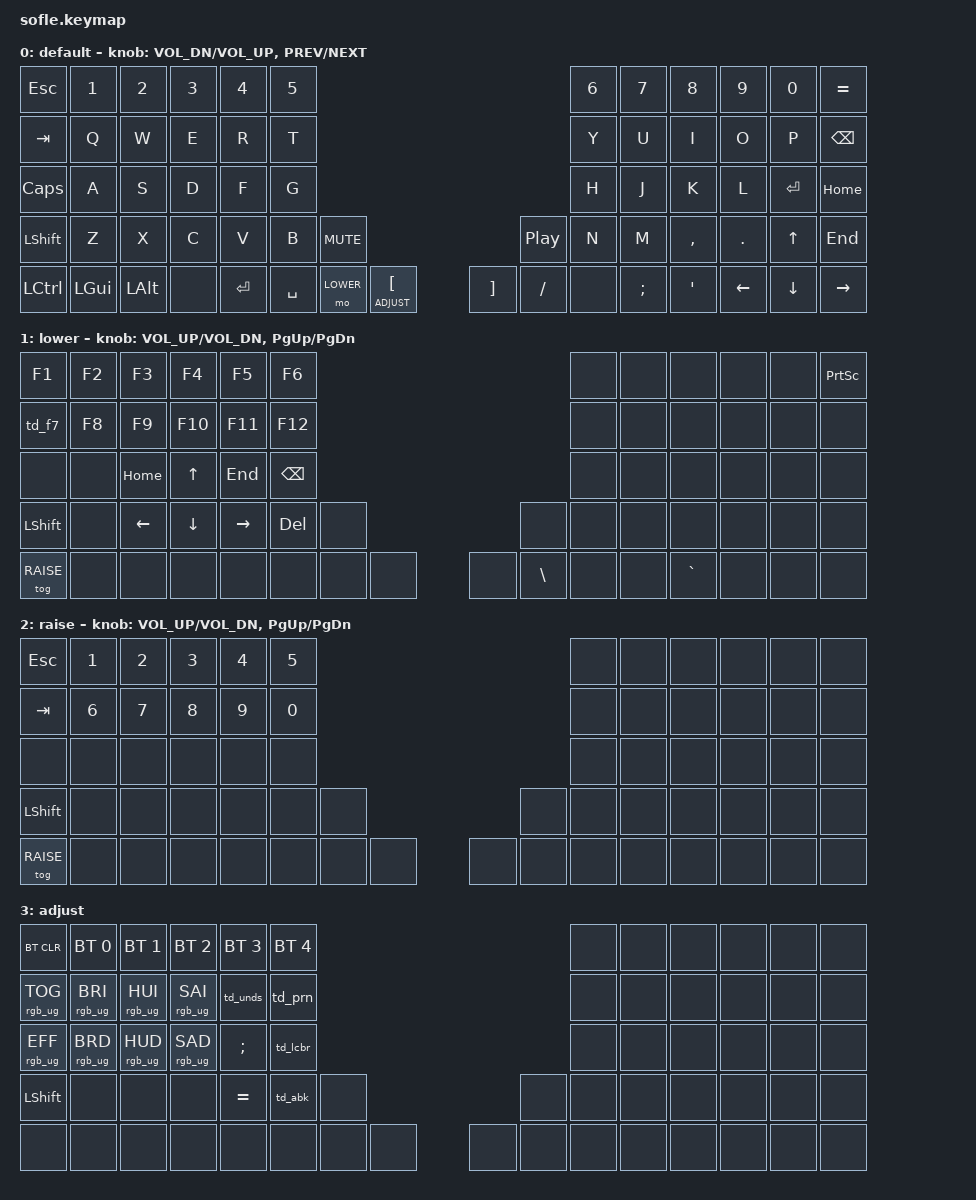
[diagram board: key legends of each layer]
/*
 * Copyright (c) 2020 The ZMK Contributors
 *
 * SPDX-License-Identifier: MIT
 */

#include <behaviors.dtsi>
#include <dt-bindings/zmk/keys.h>
#include <dt-bindings/zmk/bt.h>
#include <dt-bindings/zmk/rgb.h>
#include <dt-bindings/zmk/ext_power.h>

#include <dt-bindings/zmk/matrix_transform.h>


#define BASE 0
#define LOWER 1
#define RAISE 2
#define ADJUST 3

&led_strip {
    chain-length = <54>;
};

&josefadamcik_sofle_layout {
    transform = <&default_transform0>;
};

/ {

    chosen {
        zmk,kscan = &kscan1;
    };

    default_transform0: keymap_transform_0 {
        compatible = "zmk,matrix-transform";
        columns = <16>;
        rows = <6>;

// | SW6  | SW5  | SW4  | SW3  | SW2  | SW1  |                 | SW1  | SW2  | SW3  | SW4  | SW5  | SW6  |
// | SW12 | SW11 | SW10 | SW9  | SW8  | SW7  |                 | SW7  | SW8  | SW9  | SW10 | SW11 | SW12 |
// | SW18 | SW17 | SW16 | SW15 | SW14 | SW13 |                 | SW13 | SW14 | SW15 | SW16 | SW17 | SW18 |
// | SW24 | SW23 | SW22 | SW21 | SW20 | SW19 | SW25 |   | SW25 | SW19 | SW20 | SW21 | SW22 | SW23 | SW24 |
//               | SW30 | SW29 | SW28 | SW27 | SW26 |   | SW26 | SW27 | SW28 | SW29 | SW30 |
        map = <
RC(0,0) RC(0,1) RC(0,2) RC(0,3) RC(0,4) RC(0,5)                                     RC(0,6) RC(0,7) RC(0,8)  RC(0,9) RC(0,10) RC(0,11)
RC(1,0) RC(1,1) RC(1,2) RC(1,3) RC(1,4) RC(1,5)                                     RC(1,6) RC(1,7) RC(1,8)  RC(1,9) RC(1,10) RC(1,11)
RC(2,0) RC(2,1) RC(2,2) RC(2,3) RC(2,4) RC(2,5)                                     RC(2,6) RC(2,7) RC(2,8)  RC(2,9) RC(2,10) RC(2,11)
RC(3,0) RC(3,1) RC(3,2) RC(3,3) RC(3,4) RC(3,5) RC(4,5)                     RC(4,6) RC(3,6) RC(3,7) RC(3,8)  RC(3,9) RC(3,10) RC(3,11)
RC(4,0) RC(4,1) RC(4,2) RC(4,3) RC(4,4) RC(5,3) RC(5,4) RC(5,5)    RC(5,6)  RC(5,7) RC(5,8) RC(4,7) RC(4,8) RC(4,9) RC(4,10) RC(4,11)
        >;
    };

    kscan1: kscan {
        compatible = "zmk,kscan-gpio-matrix";
        wakeup-source;

        diode-direction = "col2row";
        row-gpios
            = <&pro_micro 4 (GPIO_ACTIVE_HIGH | GPIO_PULL_DOWN)>
            , <&pro_micro 5 (GPIO_ACTIVE_HIGH | GPIO_PULL_DOWN)>
            , <&pro_micro 6 (GPIO_ACTIVE_HIGH | GPIO_PULL_DOWN)>
            , <&pro_micro 7 (GPIO_ACTIVE_HIGH | GPIO_PULL_DOWN)>
            , <&pro_micro 8 (GPIO_ACTIVE_HIGH | GPIO_PULL_DOWN)>
            , <&pro_micro 9 (GPIO_ACTIVE_HIGH | GPIO_PULL_DOWN)>
            ;
    };



    behaviors {
        td_f7: tap_dance_0 {
            compatible = "zmk,behavior-tap-dance";
            #binding-cells = <0>;
            tapping-term-ms = <200>;
            bindings = <&kp F7>, <&kp LA(F7)>;
        };
        td_unds: tap_dance_1 {
            compatible = "zmk,behavior-tap-dance";
            #binding-cells = <0>;
            tapping-term-ms = <200>;
            bindings = <&kp UNDER>, <&kp MINUS>;
        };
        td_prn: tap_dance_2 {
            compatible = "zmk,behavior-tap-dance";
            #binding-cells = <0>;
            tapping-term-ms = <200>;
            bindings = <&kp LPAR>, <&kp RPAR>;
        };
        td_lcbr: tap_dance_3 {
            compatible = "zmk,behavior-tap-dance";
            #binding-cells = <0>;
            tapping-term-ms = <200>;
            bindings = <&kp LBRC>, <&kp RBRC>;
        };
        td_abk: tap_dance_4 {
            compatible = "zmk,behavior-tap-dance";
            #binding-cells = <0>;
            tapping-term-ms = <200>;
            bindings = <&kp LT>, <&kp GT>;
        };
        td_lower: tap_dance_5 {
            compatible = "zmk,behavior-tap-dance";
            #binding-cells = <0>;
            tapping-term-ms = <200>;
            bindings = <&mo LOWER>, <&mo RAISE>;
        };
    };

    keymap {
        compatible = "zmk,keymap";

        default_layer {
            display-name = "default";
// ------------------------------------------------------------------------------------------------------------
// |   `   |  1  |  2  |  3   |  4   |  5   |                   |  6   |  7    |  8    |  9   |   0   |       |
// |  ESC  |  Q  |  W  |  E   |  R   |  T   |                   |  Y   |  U    |  I    |  O   |   P   | BKSPC |
// |  TAB  |  A  |  S  |  D   |  F   |  G   |                   |  H   |  J    |  K    |  L   |   ;   |   '   |
// | SHIFT |  Z  |  X  |  C   |  V   |  B   |  MUTE  |  |       |  N   |  M    |  ,    |  .   |   /   | SHIFT |
//               | GUI | ALT  | CTRL | LOWER|  ENTER |  | SPACE | RAISE| CTRL  | ALT   | GUI  |
            bindings = <
&kp ESC   &kp N1   &kp N2   &kp N3 &kp N4    &kp N5                                                                   &kp N6     &kp N7        &kp N8    &kp N9   &kp N0    &kp EQUAL
&kp TAB   &kp Q    &kp W    &kp E  &kp R     &kp T                                                                    &kp Y      &kp U         &kp I     &kp O    &kp P     &kp BSPC
&kp CAPS  &kp A    &kp S    &kp D  &kp F     &kp G                                                                    &kp H      &kp J         &kp K     &kp L    &kp ENTER &kp HOME
&kp LSHFT &kp Z    &kp X    &kp C  &kp V     &kp B     &kp C_MUTE                                 &kp C_PLAY_PAUSE    &kp N      &kp M         &kp COMMA &kp DOT  &kp UP    &kp END
&kp LCTRL &kp LGUI &kp LALT &none  &kp ENTER &kp SPACE &mo LOWER  &lt ADJUST LBKT     &kp RBKT    &kp SLASH           &none      &kp SEMICOLON &kp SQT   &kp LEFT &kp DOWN  &kp RIGHT
            >;

            sensor-bindings = <&inc_dec_kp C_VOL_DN C_VOL_UP &inc_dec_kp C_PREV C_NEXT>;
        };

        lower_layer {
            display-name = "lower";

            bindings = <
&kp F1      &kp F2   &kp F3    &kp F4    &kp F5      &kp F6                                             &none     &none     &none      &none   &none    &kp PSCRN
&td_f7      &kp F8   &kp F9    &kp F10   &kp F11     &kp F12                                            &none     &none     &none      &none   &none    &none
&none       &none    &kp HOME  &kp UP    &kp END     &kp BSPC                                           &none     &none     &none      &none   &none    &none
&kp LSHFT   &none    &kp LEFT  &kp DOWN  &kp RIGHT   &kp DEL    &none                        &none      &none     &none     &none      &none   &none    &none
&tog RAISE  &none    &none     &none     &none       &none      &none  &none        &none    &kp BSLH   &none     &none     &kp GRAVE  &none   &none    &none
            >;

            sensor-bindings = <&inc_dec_kp C_VOL_UP C_VOL_DN &inc_dec_kp PG_UP PG_DN>;
        };

        raise_layer {
            display-name = "raise";

            bindings = <
&kp ESC      &kp N1   &kp N2    &kp N3    &kp N4      &kp N5                                           &none     &none     &none    &none   &none    &none
&kp TAB      &kp N6   &kp N7    &kp N8    &kp N9      &kp N0                                           &none     &none     &none    &none   &none    &none
&none        &none    &none     &none     &none       &none                                            &none     &none     &none    &none   &none    &none
&kp LSHFT    &none    &none     &none     &none       &none      &none                        &none    &none     &none     &none    &none   &none    &none
&tog RAISE   &none    &none     &none     &none       &none      &none   &none       &none    &none    &none     &none     &none    &none   &none    &none
            >;

            sensor-bindings = <&inc_dec_kp C_VOL_UP C_VOL_DN &inc_dec_kp PG_UP PG_DN>;
        };

        adjust_layer {
// ----------------------------------------------------------------------------------------------------------------------------
// | BTCLR  |  BT1    |  BT2    |   BT3   |   BT4   |   BT5   |                  |      |      |       |      |       |       |
// | EXTPWR | RGB_HUD | RGB_HUI | RGB_SAD | RGB_SAI | RGB_EFF |                  |      |      |       |      |       |       |
// |        | RGB_BRD | RGB_BRI |         |         |         |                  |      |      |       |      |       |       |
// |        |         |         |         |         |         | RGB_TOG | |      |      |      |       |      |       |       |
//                    |         |         |         |         |         | |      |      |      |       |      |
            display-name = "adjust";
            bindings = <
&bt BT_CLR         &bt BT_SEL 0    &bt BT_SEL 1    &bt BT_SEL 2    &bt BT_SEL 3    &bt BT_SEL 4                                            &none     &none     &none    &none   &none    &none
&rgb_ug RGB_TOG    &rgb_ug RGB_BRI &rgb_ug RGB_HUI &rgb_ug RGB_SAI &td_unds        &td_prn                                                 &none     &none     &none    &none   &none    &none
&rgb_ug RGB_EFF    &rgb_ug RGB_BRD &rgb_ug RGB_HUD &rgb_ug RGB_SAD &kp SEMICOLON   &td_lcbr                                                &none     &none     &none    &none   &none    &none
&kp LSHFT          &none           &none           &none           &kp EQUAL       &td_abk         &none                        &none      &none     &none     &none    &none   &none    &none
&none              &none           &none           &none           &none           &none           &none  &none        &none    &none      &none     &none     &none    &none   &none    &none                                  
            >;
        };

    };
};
